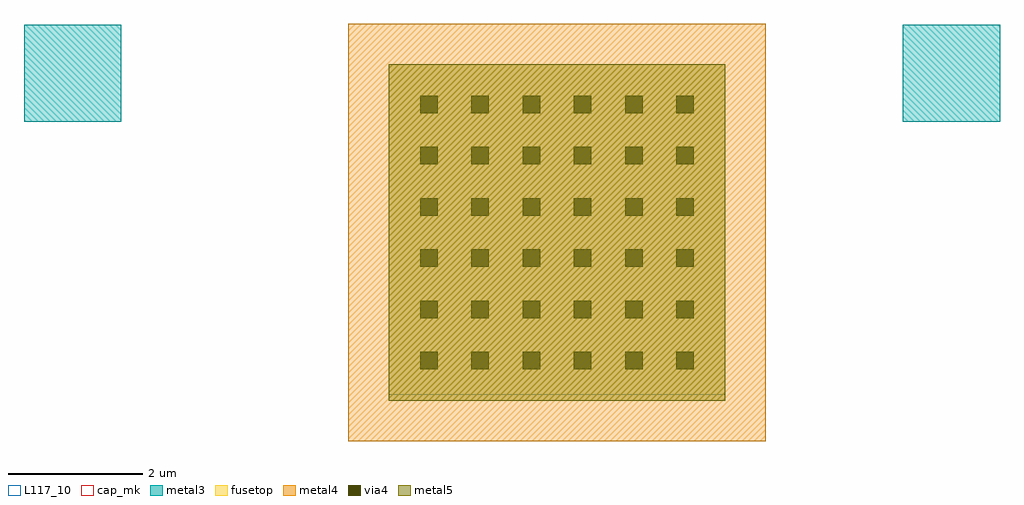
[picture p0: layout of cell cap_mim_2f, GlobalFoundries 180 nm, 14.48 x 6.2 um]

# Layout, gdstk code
import gdstk
lib = gdstk.Library(unit=1e-6, precision=5e-09)
def R(c, l, rs):  # rectangles x0, y0, x1, y1
    for r in rs: c.add(gdstk.rectangle(r[:2], r[2:], *l))
def A(c, l, x, y, w, h, nx, ny, dx, dy):  # array of equal rectangles
    R(c, l, [(x+i*dx, y+j*dy, x+i*dx+w, y+j*dy+h) for i in range(nx) for j in range(ny)])
via4 = (41, 0)
metal3 = (42, 0)
metal4 = (46, 0)
fusetop = (75, 0)
metal5 = (81, 0)
cap_mk = (117, 5)
L117_10 = (117, 10)

cap_mim = lib.new_cell('cap_mim')
A(cap_mim, via4, 0.47, 0.47, 0.26, 0.26, 6, 6, 0.76, 0.76)
R(cap_mim, metal4, [(-0.6,-0.6,5.6,5.6)])
R(cap_mim, fusetop, [(0,0,5,5)])
R(cap_mim, metal5, [(0,0,5,5)])
R(cap_mim, cap_mk, [(-0.6,-0.6,5.6,5.6)])
R(cap_mim, L117_10, [(0,0,5,0.1)])
cap_mim.add(gdstk.Label('IN1', (2.5,2.5), layer=81, texttype=10))
cap_mim.add(gdstk.Label('IN2', (2.5,-0.3), layer=46, texttype=10))

cap_mim_2f = lib.new_cell('cap_mim_2f')
R(cap_mim_2f, metal3, [(-7.07,1.6,-5.63,3.04), (5.975,1.6,7.415,3.04)])
cap_mim_2f.add(gdstk.Reference(cap_mim, (-1.66,-2.54)))

lib.write_gds('cap_mim_2f.gds')
